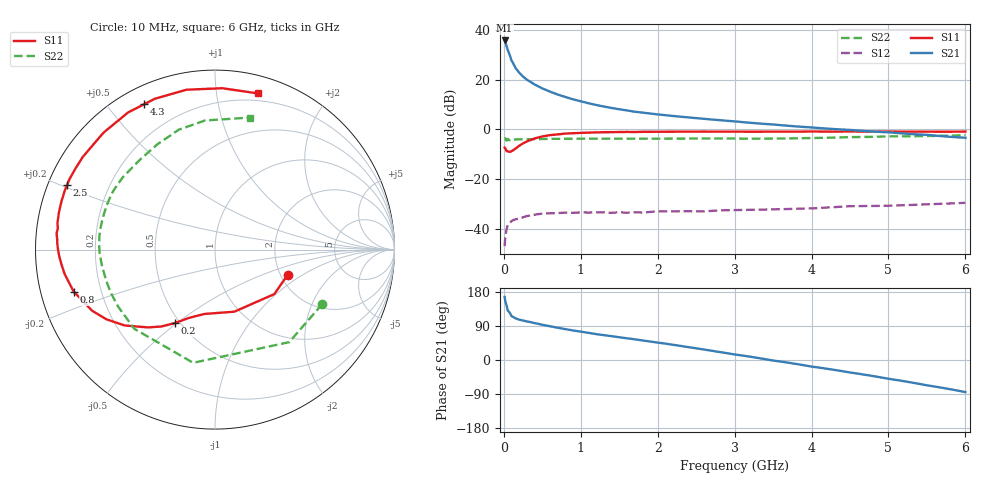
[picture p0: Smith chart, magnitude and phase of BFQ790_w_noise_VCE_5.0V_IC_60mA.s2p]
! Infineon Technologies  Discrete & RF Semiconductors
! BFQ790
! VCE =  5.0 V,  IC =  60 mA
! Common Emitter S-Parameters:  May 2015
# GHz  S  MA  R  50
!  f  S11  S21  S12  S22
! GHz  MAG  ANG  MAG  ANG  MAG  ANG  MAG  ANG
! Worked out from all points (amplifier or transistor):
!   77 points, 10 MHz to 6 GHz, reference 50 ohm
!   highest |S21| = 35.7 dB at 10 MHz (marker M1)
!   |S21| within 3 dB of that: start of sweep to 42.46 MHz
!   unconditionally stable (mu >= 1): start of sweep to 11.14 MHz; 253.1 MHz to 371.4 MHz; 1.351 GHz to end of sweep
!   at 130 MHz: K = 0.79, MSG = 31.2 dB, |S12| = -36.4 dB
!   at 2.2 GHz: K = 1.18, MAG = 16.6 dB, |S12| = -33.0 dB
!   at 6 GHz: K = 1.48, MAG = 9.0 dB, |S12| = -29.5 dB
!   lowest NFmin = 2.33 dB at 1.5 GHz
!   S11 on the Smith chart (normalised r, x): 10 MHz: 2.18, -0.75; 200 MHz: 0.47, -0.49; 800 MHz: 0.10, -0.14; 2.5 GHz: 0.06, +0.21; 4.3 GHz: 0.07, +0.62; 6 GHz: 0.14, +1.30
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0.01  0.4287 -19.1  60.95 166.4  0.0045 39.3  0.6704 -26.9
0.02  0.4131 -36.9  56.74 154.0  0.0072 43.9  0.6609 -51.3
0.05  0.3623 -72.8  39.57 130.7  0.012 33.9  0.6422 -100.9
0.1  0.3634 -99.4  24.09 115.6  0.0144 21.1  0.6299 -135.5
0.15  0.4087 -111.1  17.3 110.0  0.0156 21.6  0.6267 -149.9
0.2  0.4678 -118.8  13.69 106.5  0.0161 20.9  0.6284 -157.8
0.25  0.5232 -125.0  11.47 104.1  0.0171 17.0  0.6294 -162.8
0.3  0.571 -130.6  9.91 101.8  0.0181 15.7  0.6309 -166.5
0.4  0.6573 -140.0  7.949 97.3  0.0193 13.8  0.6359 -171.7
0.5  0.7188 -147.3  6.641 93.0  0.0203 9.0  0.6391 -175.4
0.6  0.765 -153.6  5.72 89.1  0.0206 8.7  0.6431 -178.5
0.7  0.7913 -159.0  4.997 85.1  0.0208 8.0  0.6449 179.1
0.8  0.8214 -163.4  4.465 81.5  0.0212 1.7  0.6461 177.2
1.1  0.8591 -174.4  3.344 71.6  0.0213 -0.1  0.6485 172.2
1.5  0.8815 176.1  2.528 60.0  0.0216 -3.8  0.6482 167.0
2.1  0.8947 164.7  1.922 43.2  0.0225 -8.4  0.6505 159.1
2.5  0.8994 156.4  1.678 30.9  0.0226 -12.2  0.6531 152.3
3.1  0.897 142.7  1.398 11.8  0.024 -18.2  0.6506 139.5
4.1  0.9022 120.3  1.062 -20.1  0.0263 -27.1  0.6723 116.2
4.3  0.901 116.0  1.011 -26.2  0.0274 -29.5  0.6827 111.4
5.1  0.9003 97.6  0.846 -52.6  0.0295 -41.0  0.7218 92.2
6  0.9023 74.7  0.677 -84.7  0.0334 -57.8  0.7608 75.3
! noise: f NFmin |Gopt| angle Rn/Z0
0.45  3.2  0.34  120  0.36
0.9  2.39  0.48  159  0.14
1.5  2.33  0.63  -178  0.07
1.8  2.52  0.66  -172  0.07
2.6  3.11  0.72  -154  0.19
3.5  3.88  0.83  -137  0.49
